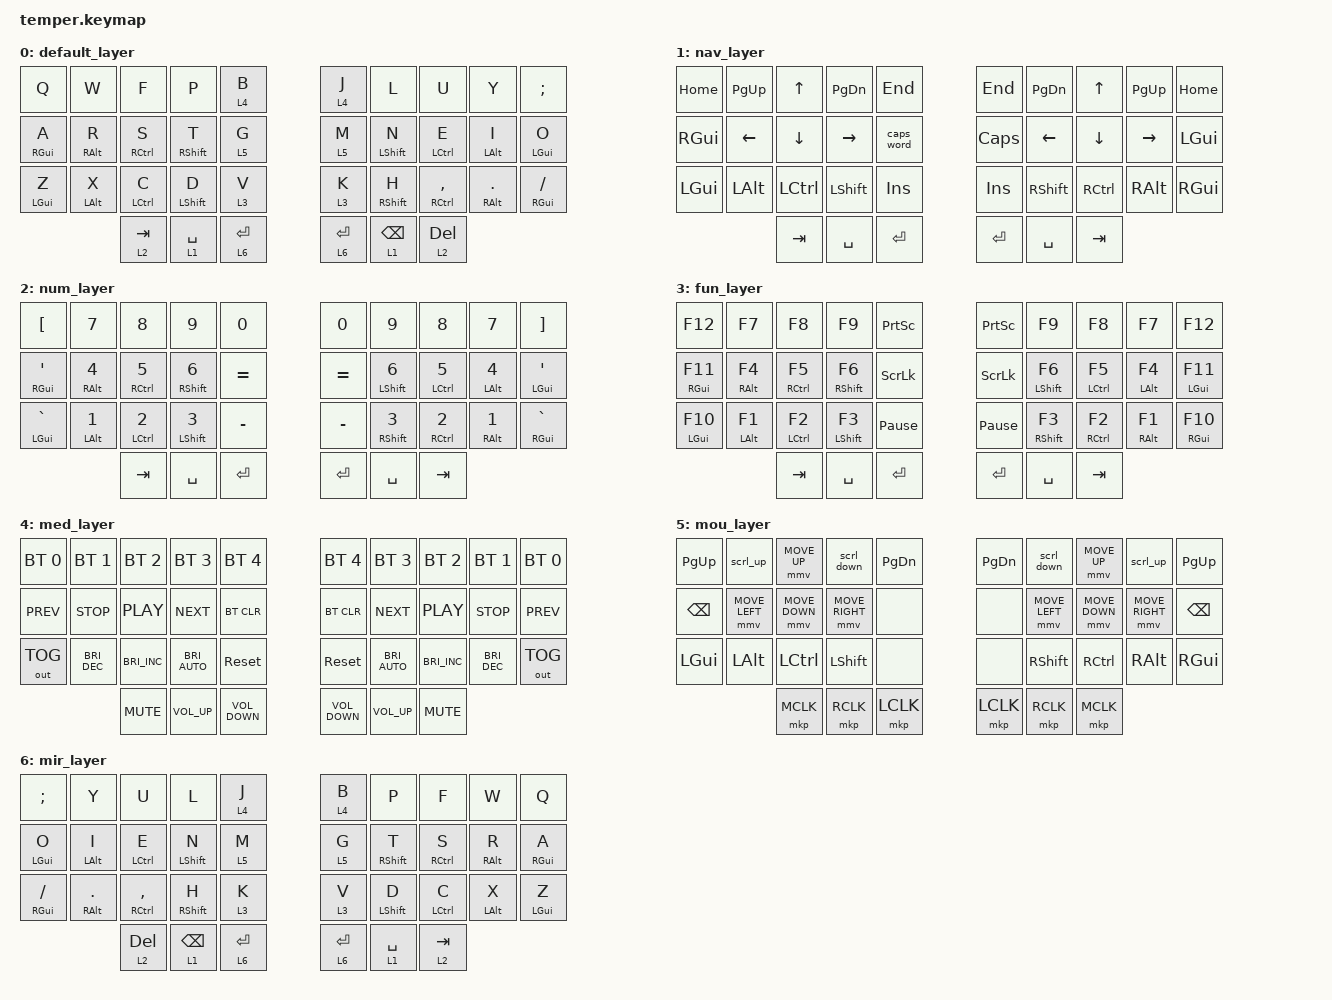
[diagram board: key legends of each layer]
/*
 * Copyright (c) 2020 The ZMK Contributors
 *
 * SPDX-License-Identifier: MIT
 */

#include <zephyr/dt-bindings/input/input-event-codes.h>
#include <behaviors.dtsi>
#include <dt-bindings/zmk/bt.h>
#include <dt-bindings/zmk/keys.h>
#include <dt-bindings/zmk/outputs.h>
#include <dt-bindings/zmk/pointing.h>

#define BASE 0
#define NAV 1
#define NUM 2
#define FUN 3
#define MED 4
#define MOU 5
#define MIR 6

&caps_word { continue-list = <UNDERSCORE MINUS BACKSPACE N0 N1 N2 N3 N4 N5 N6 N7 N8 N9>; };

/ {
    behaviors {
        hm: homerow_mods {
            compatible = "zmk,behavior-hold-tap";
            #binding-cells = <2>;
            tapping-term-ms = <150>;
            flavor = "tap-preferred";
            bindings = <&kp>, <&kp>;
        };

        // Scrolling, speeds in wheel notches per second.
        // A tap sends one notch right away; holding scrolls at half speed
        // (5/s) and ramps up to full speed (10/s) over one second.

        scrl_step: scroll_step {
            compatible = "zmk,behavior-input-two-axis";
            #binding-cells = <1>;
            x-input-code = <INPUT_REL_HWHEEL>;
            y-input-code = <INPUT_REL_WHEEL>;
            time-to-max-speed-ms = <0>;
            acceleration-exponent = <0>;
        };

        scrl_half: scroll_half {
            compatible = "zmk,behavior-input-two-axis";
            #binding-cells = <1>;
            x-input-code = <INPUT_REL_HWHEEL>;
            y-input-code = <INPUT_REL_WHEEL>;
            time-to-max-speed-ms = <0>;
            acceleration-exponent = <0>;
        };

        scrl_ramp: scroll_ramp {
            compatible = "zmk,behavior-input-two-axis";
            #binding-cells = <1>;
            x-input-code = <INPUT_REL_HWHEEL>;
            y-input-code = <INPUT_REL_WHEEL>;
            time-to-max-speed-ms = <1000>;
            acceleration-exponent = <1>;
        };

        scrl_up: scroll_up {
            compatible = "zmk,behavior-macro";
            #binding-cells = <0>;
            wait-ms = <0>;
            tap-ms = <24>;
            bindings =
                <&macro_press>,
                <&scrl_half MOVE_Y(5) &scrl_ramp MOVE_Y(5)>,
                <&macro_tap>,
                <&scrl_step MOVE_Y(100)>,
                <&macro_pause_for_release>,
                <&macro_release>,
                <&scrl_half MOVE_Y(5) &scrl_ramp MOVE_Y(5)>;
        };

        scrl_down: scroll_down {
            compatible = "zmk,behavior-macro";
            #binding-cells = <0>;
            wait-ms = <0>;
            tap-ms = <24>;
            bindings =
                <&macro_press>,
                <&scrl_half MOVE_Y(-5) &scrl_ramp MOVE_Y(-5)>,
                <&macro_tap>,
                <&scrl_step MOVE_Y(-100)>,
                <&macro_pause_for_release>,
                <&macro_release>,
                <&scrl_half MOVE_Y(-5) &scrl_ramp MOVE_Y(-5)>;
        };
    };

    scrl_step_listener {
        compatible = "zmk,input-listener";
        device = <&scrl_step>;
    };

    scrl_half_listener {
        compatible = "zmk,input-listener";
        device = <&scrl_half>;
    };

    scrl_ramp_listener {
        compatible = "zmk,input-listener";
        device = <&scrl_ramp>;
    };

    combos {
        compatible = "zmk,combos";
        timeout-ms = <40>;

        left-del {
            bindings = <&kp DEL>;
            key-positions = <20 21>;
        };

        right-del {
            bindings = <&kp DEL>;
            key-positions = <28 29>;
        };

        esc-left {
            bindings = <&kp ESC>;
            key-positions = <0 1>;
        };

        esc-right {
            bindings = <&kp ESC>;
            key-positions = <8 9>;
        };

        Rbracket-left {
            bindings = <&kp RIGHT_BRACKET>;
            key-positions = <0 2>;
            layers = <2>;
        };

        Rbracket-right {
            bindings = <&kp RIGHT_BRACKET>;
            key-positions = <7 9>;
            layers = <2>;
        };

        Bslash-left {
            bindings = <&kp BACKSLASH>;
            key-positions = <20 22>;
        };

        Bslash-right {
            bindings = <&kp BACKSLASH>;
            key-positions = <27 29>;
        };

        Lnav-left {
            bindings = <&to 1>;
            key-positions = <31 23 22>;
        };

        Lnav-right {
            bindings = <&to 1>;
            key-positions = <34 26 27>;
        };

        Lnum-left {
            bindings = <&to 2>;
            key-positions = <30 23 22>;
        };

        Lnum-right {
            bindings = <&to 2>;
            key-positions = <26 35 27>;
        };

        Lfun-left {
            bindings = <&to 3>;
            key-positions = <23 24 22>;
        };

        Lfun-right {
            bindings = <&to 3>;
            key-positions = <25 26 27>;
        };

        Lmou-left {
            bindings = <&to 5>;
            key-positions = <23 14 22>;
        };

        Lmou-right {
            bindings = <&to 5>;
            key-positions = <15 26 27>;
        };

        Lmed-left {
            bindings = <&to 4>;
            key-positions = <4 23 22>;
        };

        Lmed-right {
            bindings = <&to 4>;
            key-positions = <5 26 27>;
        };

        Todef-left {
            bindings = <&to 0>;
            key-positions = <0 32>;
        };

        Todef-right {
            bindings = <&to 0>;
            key-positions = <9 33>;
        };

        left-bksp {
            bindings = <&kp BSPC>;
            key-positions = <10 11>;
        };

        right-bksp {
            bindings = <&kp BSPC>;
            key-positions = <18 19>;
        };
    };

    macros {
    };

    keymap {
        compatible = "zmk,keymap";

        default_layer {
            bindings = <
  &kp Q       &kp W       &kp F        &kp P        &lt 4 B        &lt 4 J      &kp L        &kp U            &kp Y         &kp SEMI
  &hm RGUI A  &hm RALT R  &hm RCTRL S  &hm RSHFT T  &lt 5 G        &lt 5 M      &hm LSHFT N  &hm LCTRL E      &hm LALT I    &hm LGUI O
  &hm LGUI Z  &hm LALT X  &hm LCTRL C  &hm LSHFT D  &lt 3 V        &lt 3 K      &hm RSHFT H  &hm RCTRL COMMA  &hm RALT DOT  &hm RGUI FSLH
                          &lt 2 TAB    &lt 1 SPACE  &lt 6 ENTER    &lt 6 ENTER  &lt 1 BSPC   &lt 2 DEL
            >;
        };

        nav_layer {
            bindings = <
  &kp HOME  &kp PAGE_UP     &kp UP_ARROW    &kp PAGE_DOWN  &kp END       &kp END    &kp PAGE_DOWN   &kp UP_ARROW    &kp PAGE_UP      &kp HOME
  &kp RGUI  &kp LEFT_ARROW  &kp DOWN_ARROW  &kp RIGHT      &caps_word    &kp CAPS   &kp LEFT_ARROW  &kp DOWN_ARROW  &kp RIGHT_ARROW  &kp LGUI
  &kp LGUI  &kp LALT        &kp LCTRL       &kp LSHFT      &kp INS       &kp INS    &kp RSHFT       &kp RCTRL       &kp RALT         &kp RGUI
                            &kp TAB         &kp SPACE      &kp ENTER     &kp ENTER  &kp SPACE       &kp TAB
            >;
        };

        num_layer {
            bindings = <
  &kp LEFT_BRACKET  &kp N7             &kp N8              &kp N9              &kp NUMBER_0    &kp N0     &kp N9              &kp N8              &kp N7             &kp RIGHT_BRACKET
  &hm RGUI SQT      &hm RALT NUMBER_4  &hm RCTRL N5        &hm RSHFT NUMBER_6  &kp EQUAL       &kp EQUAL  &hm LSHFT NUMBER_6  &hm LCTRL N5        &hm LALT NUMBER_4  &hm LGUI SQT
  &hm LGUI GRAVE    &hm LALT NUMBER_1  &hm LCTRL NUMBER_2  &hm LSHFT NUMBER_3  &kp MINUS       &kp MINUS  &hm RSHFT NUMBER_3  &hm RCTRL NUMBER_2  &hm RALT NUMBER_1  &hm RGUI GRAVE
                                       &kp TAB             &kp SPACE           &kp ENTER       &kp ENTER  &kp SPACE           &kp TAB
            >;
        };

        fun_layer {
            bindings = <
  &kp F12       &kp F7       &kp F8        &kp F9        &kp PSCRN          &kp PRINTSCREEN  &kp F9             &kp F8        &kp F7       &kp F12
  &hm RGUI F11  &hm RALT F4  &hm RCTRL F5  &hm RSHFT F6  &kp SCROLLLOCK     &kp SCROLLLOCK   &mt LEFT_SHIFT F6  &hm LCTRL F5  &hm LALT F4  &hm LGUI F11
  &hm LGUI F10  &hm LALT F1  &hm LCTRL F2  &hm LSHFT F3  &kp PAUSE_BREAK    &kp PAUSE_BREAK  &hm RSHFT F3       &hm RCTRL F2  &hm RALT F1  &hm RGUI F10
                             &kp TAB       &kp SPACE     &kp ENTER          &kp ENTER        &kp SPACE          &kp TAB
            >;
        };

        med_layer {
            bindings = <
  &bt BT_SEL 0  &bt BT_SEL 1          &bt BT_SEL 2          &bt BT_SEL 3           &bt BT_SEL 4         &bt BT_SEL 4       &bt BT_SEL 3           &bt BT_SEL 2          &bt BT_SEL 1          &bt BT_SEL 0
  &kp C_PREV    &kp C_STOP            &kp C_PLAY            &kp C_NEXT             &bt BT_CLR           &bt BT_CLR         &kp C_NEXT             &kp C_PLAY            &kp C_STOP            &kp C_PREV
  &out OUT_TOG  &kp C_BRIGHTNESS_DEC  &kp C_BRIGHTNESS_INC  &kp C_BRIGHTNESS_AUTO  &sys_reset           &sys_reset         &kp C_BRIGHTNESS_AUTO  &kp C_BRIGHTNESS_INC  &kp C_BRIGHTNESS_DEC  &out OUT_TOG
                                      &kp C_MUTE            &kp C_VOLUME_UP        &kp C_VOLUME_DOWN    &kp C_VOLUME_DOWN  &kp C_VOLUME_UP        &kp C_MUTE
            >;
        };

        mou_layer {
            bindings = <
  &kp PAGE_UP  &scrl_up        &mmv MOVE_UP    &scrl_down       &kp PAGE_DOWN    &kp PAGE_DOWN  &scrl_down      &mmv MOVE_UP    &scrl_up         &kp PAGE_UP
  &kp BSPC     &mmv MOVE_LEFT  &mmv MOVE_DOWN  &mmv MOVE_RIGHT  &none            &none          &mmv MOVE_LEFT  &mmv MOVE_DOWN  &mmv MOVE_RIGHT  &kp BSPC
  &kp LGUI     &kp LALT        &kp LCTRL       &kp LSHFT        &none            &none          &kp RSHFT       &kp RCTRL       &kp RALT         &kp RGUI
                               &mkp MCLK       &mkp RCLK        &mkp LCLK        &mkp LCLK      &mkp RCLK       &mkp MCLK
            >;
        };

        mir_layer {
            bindings = <
  &kp SEMI       &kp Y         &kp U            &kp L        &lt 4 J        &lt 4 B      &kp P        &kp F        &kp W       &kp Q
  &hm LGUI O     &hm LALT I    &hm LCTRL E      &hm LSHFT N  &lt 5 M        &lt 5 G      &hm RSHFT T  &hm RCTRL S  &hm RALT R  &hm RGUI A
  &hm RGUI FSLH  &hm RALT DOT  &hm RCTRL COMMA  &hm RSHFT H  &lt 3 K        &lt 3 V      &hm LSHFT D  &hm LCTRL C  &hm LALT X  &hm LGUI Z
                               &lt 2 DEL        &lt 1 BSPC   &lt 6 ENTER    &lt 6 ENTER  &lt 1 SPACE  &lt 2 TAB
            >;
        };
    };
};
